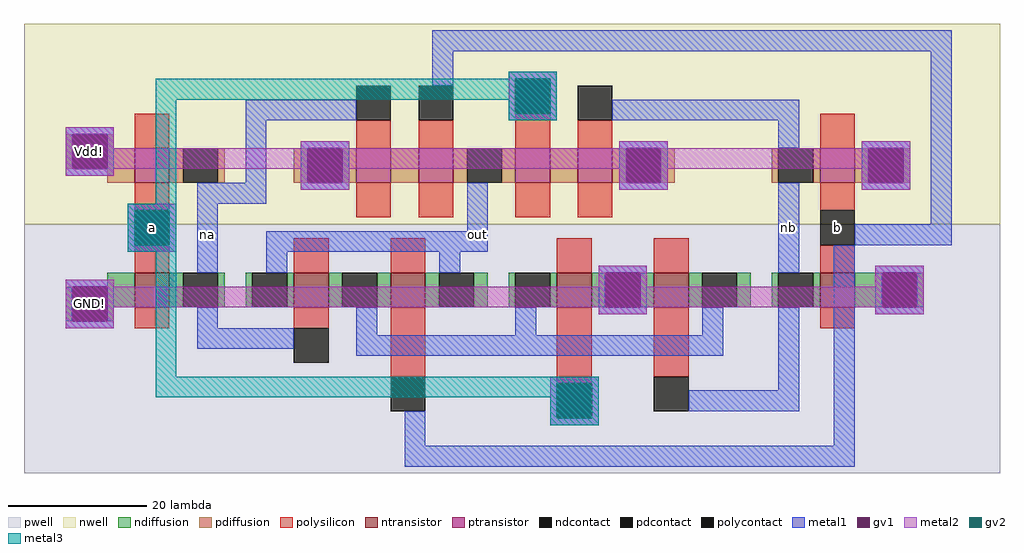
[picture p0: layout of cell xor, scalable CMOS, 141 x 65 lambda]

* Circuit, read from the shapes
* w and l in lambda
.subckt xor GND! Vdd! a b na nb out
M1 na a GND! VSUBS nfet w=5 l=5
M2 n1 na out VSUBS nfet w=5 l=5
M3 out b n1 VSUBS nfet w=5 l=5
M4 GND! a n1 VSUBS nfet w=5 l=5
M5 n1 nb GND! VSUBS nfet w=5 l=5
M6 GND! b nb VSUBS nfet w=5 l=5
M7 na a Vdd! n2 pfet w=5 l=5
M8 n3 na Vdd! n2 pfet w=5 l=5
M9 out b n3 n2 pfet w=5 l=5
M10 n4 a out n2 pfet w=5 l=5
M11 Vdd! nb n4 n2 pfet w=5 l=5
M12 Vdd! b nb n2 pfet w=5 l=5
.ends

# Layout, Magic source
magic
tech scmos
<< nwell >>
rect -45 -6 96 23
<< pwell >>
rect -45 -42 96 -6
<< ntransistor >>
rect -29 -18 -24 -13
rect -6 -18 -1 -13
rect 8 -18 13 -13
rect 32 -18 37 -13
rect 46 -18 51 -13
rect 70 -18 75 -13
<< ptransistor >>
rect -29 0 -24 5
rect 3 0 8 5
rect 12 0 17 5
rect 26 0 31 5
rect 35 0 40 5
rect 70 0 75 5
<< ndiffusion >>
rect -39 -20 -38 -15
rect -33 -18 -29 -13
rect -24 -18 -22 -13
rect -17 -18 -16 -13
rect -13 -18 -12 -13
rect -7 -18 -6 -13
rect -1 -18 1 -13
rect 6 -18 8 -13
rect 13 -18 15 -13
rect 20 -18 22 -13
rect 25 -18 26 -13
rect 31 -18 32 -13
rect 37 -18 39 -13
rect 44 -18 46 -13
rect 51 -18 53 -13
rect 58 -18 60 -13
rect 63 -18 64 -13
rect 69 -18 70 -13
rect 75 -18 79 -13
rect 84 -18 85 -13
rect -33 -20 -32 -18
<< pdiffusion >>
rect -39 2 -38 7
rect -33 5 -32 7
rect -33 0 -29 5
rect -24 0 -22 5
rect -17 0 -16 5
rect -6 0 -4 5
rect 1 0 3 5
rect 8 0 12 5
rect 17 0 19 5
rect 24 0 26 5
rect 31 0 35 5
rect 40 0 42 5
rect 47 0 49 5
rect 63 0 64 5
rect 69 0 70 5
rect 75 0 77 5
rect 82 0 83 5
<< ndcontact >>
rect -38 -20 -33 -15
rect -22 -18 -17 -13
rect -12 -18 -7 -13
rect 1 -18 6 -13
rect 15 -18 20 -13
rect 26 -18 31 -13
rect 39 -18 44 -13
rect 53 -18 58 -13
rect 64 -18 69 -13
rect 79 -18 84 -13
<< pdcontact >>
rect -38 2 -33 7
rect -22 0 -17 5
rect -4 0 1 5
rect 19 0 24 5
rect 42 0 47 5
rect 64 0 69 5
rect 77 0 82 5
<< polysilicon >>
rect -29 5 -24 10
rect 3 5 8 9
rect 12 5 17 9
rect 26 5 31 10
rect 35 5 40 9
rect 70 5 75 10
rect -29 -4 -24 0
rect 3 -5 8 0
rect 12 -5 17 0
rect 26 -5 31 0
rect 35 -5 40 0
rect 70 -4 75 0
rect -29 -13 -24 -9
rect -6 -13 -1 -8
rect 8 -13 13 -8
rect 32 -13 37 -8
rect 46 -13 51 -8
rect 70 -13 75 -9
rect -29 -21 -24 -18
rect -6 -21 -1 -18
rect 8 -28 13 -18
rect 32 -29 37 -18
rect 46 -28 51 -18
rect 70 -21 75 -18
<< polycontact >>
rect 3 9 8 14
rect 12 9 17 14
rect 26 10 31 15
rect 35 9 40 14
rect -29 -9 -24 -4
rect 70 -9 75 -4
rect -6 -26 -1 -21
rect 8 -33 13 -28
rect 32 -34 37 -29
rect 46 -33 51 -28
<< metal1 >>
rect 14 19 89 22
rect 14 14 17 19
rect -13 9 3 12
rect 25 15 32 16
rect 25 10 26 15
rect 31 10 32 15
rect 25 9 32 10
rect 40 9 67 12
rect -39 7 -32 8
rect -39 2 -38 7
rect -33 2 -32 7
rect -39 1 -32 2
rect -13 0 -10 9
rect -20 -3 -10 0
rect -5 5 2 6
rect 41 5 48 6
rect -5 0 -4 5
rect 1 0 2 5
rect -5 -1 2 0
rect 41 0 42 5
rect 47 0 48 5
rect -30 -4 -23 -3
rect -30 -9 -29 -4
rect -24 -9 -23 -4
rect -30 -10 -23 -9
rect -20 -13 -17 -3
rect 19 -7 22 0
rect 41 -1 48 0
rect 64 5 67 9
rect 76 5 83 6
rect 76 0 77 5
rect 82 0 83 5
rect -10 -10 22 -7
rect -10 -13 -7 -10
rect 15 -13 18 -10
rect 38 -13 45 -12
rect 64 -13 67 0
rect 76 -1 83 0
rect 86 -6 89 19
rect 75 -9 89 -6
rect -39 -15 -32 -14
rect -39 -20 -38 -15
rect -33 -20 -32 -15
rect 38 -18 39 -13
rect 44 -18 45 -13
rect -39 -21 -32 -20
rect -20 -21 -17 -18
rect -20 -24 -6 -21
rect 3 -22 6 -18
rect 26 -22 29 -18
rect 38 -19 45 -18
rect 53 -22 56 -18
rect 3 -25 56 -22
rect 10 -38 13 -33
rect 31 -29 38 -28
rect 31 -34 32 -29
rect 37 -34 38 -29
rect 64 -30 67 -18
rect 51 -33 67 -30
rect 31 -35 38 -34
rect 72 -38 75 -9
rect 78 -13 85 -12
rect 78 -18 79 -13
rect 84 -18 85 -13
rect 78 -19 85 -18
rect 10 -41 75 -38
<< metal2 >>
rect 25 9 32 16
rect -39 5 -32 8
rect -5 5 2 6
rect 41 5 48 6
rect 76 5 83 6
rect -39 2 83 5
rect -39 1 -32 2
rect -5 -1 2 2
rect 41 -1 48 2
rect 76 -1 83 2
rect -30 -10 -23 -3
rect -39 -15 -32 -14
rect 38 -15 45 -12
rect 78 -15 85 -12
rect -39 -18 85 -15
rect -39 -21 -32 -18
rect 38 -19 45 -18
rect 78 -19 85 -18
rect 31 -35 38 -28
<< gv1 >>
rect 26 10 31 15
rect -38 2 -33 7
rect -4 0 1 5
rect 42 0 47 5
rect 77 0 82 5
rect -29 -9 -24 -4
rect -38 -20 -33 -15
rect 39 -18 44 -13
rect 79 -18 84 -13
rect 32 -34 37 -29
<< metal3 >>
rect 25 15 32 16
rect -26 12 32 15
rect -26 -3 -23 12
rect 25 9 32 12
rect -30 -10 -23 -3
rect -26 -28 -23 -10
rect -26 -31 38 -28
rect 31 -35 38 -31
<< gv2 >>
rect 26 10 31 15
rect -29 -9 -24 -4
rect 32 -34 37 -29
<< labels >>
rlabel metal1 -19 -8 -18 -7 1 na
rlabel polycontact 72 -7 73 -6 1 b
rlabel metal1 65 -7 66 -6 1 nb
rlabel metal1 20 -8 21 -7 1 out
rlabel polycontact -27 -7 -26 -6 1 a
rlabel gv1 -36 4 -35 5 1 Vdd!
rlabel gv1 -36 -18 -35 -17 1 GND!
<< end >>
